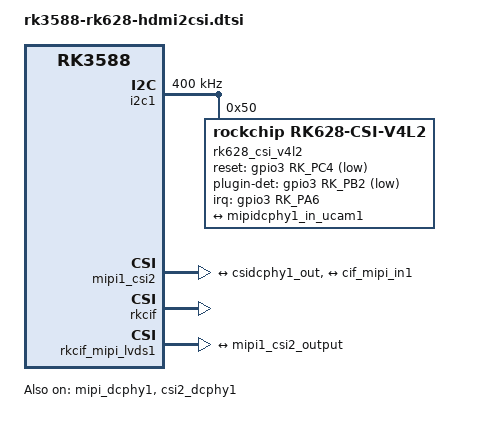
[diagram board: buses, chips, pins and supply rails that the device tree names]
//#include "rk628.dtsi"

&mipi_dcphy1 {
        status = "okay";
};

&i2c1 {
	status = "okay";

	inctrl-names = "default";
	pinctrl-0 = <&i2c1m4_xfer>;
	clock-frequency = <400000>;
	
	rk628_csi_v4l2: rk628_csi_v4l2@50 {
	        reg = <0x50>;
	        compatible = "rockchip,rk628-csi-v4l2";
	        interrupt-parent = <&gpio3>;
	        interrupts = <RK_PA6 IRQ_TYPE_EDGE_RISING>;
	        //enable-gpios = <&gpio3 RK_PC6 GPIO_ACTIVE_LOW>;
	        reset-gpios = <&gpio3 RK_PC4 GPIO_ACTIVE_LOW>;
	        plugin-det-gpios = <&gpio3 RK_PB2 GPIO_ACTIVE_LOW>;

	        rockchip,camera-module-index = <0>;
	        rockchip,camera-module-facing = "back";
	        rockchip,camera-module-name = "RK628-CSI";
	        rockchip,camera-module-lens-name = "NC";

	        port {
	                hdmiin_out0: endpoint {
	                        remote-endpoint = <&mipidcphy1_in_ucam1>;
	                        data-lanes = <1 2 3 4>;
	                };
	        };
	};

};
#if 0
#include "rk628.dtsi"

&rk628_combrxphy {
	status = "okay";
};

&rk628_combtxphy {
	status = "okay";
};

#endif

&csi2_dcphy1 {
	status = "okay";

	ports {
		#address-cells = <1>;
		#size-cells = <0>;
		port@0 {
			reg = <0>;
			#address-cells = <1>;
			#size-cells = <0>;

			mipidcphy1_in_ucam1: endpoint@2 {
				reg = <2>;
				remote-endpoint = <&hdmiin_out0>;
				data-lanes = <1 2 3 4>;
			};
		};
		port@1 {
			reg = <1>;
			#address-cells = <1>;
			#size-cells = <0>;

			csidcphy1_out: endpoint@0 {
				reg = <0>;
				remote-endpoint = <&mipi1_csi2_input>;
			};
		};
	};
};

&mipi1_csi2 {
	status = "okay";

	ports {
		#address-cells = <1>;
		#size-cells = <0>;

		port@0 {
			reg = <0>;
			#address-cells = <1>;
			#size-cells = <0>;

			mipi1_csi2_input: endpoint@1 {
				reg = <1>;
				remote-endpoint = <&csidcphy1_out>;
			};
		};

		port@1 {
			reg = <1>;
			#address-cells = <1>;
			#size-cells = <0>;

			mipi1_csi2_output: endpoint@0 {
				reg = <0>;
				remote-endpoint = <&cif_mipi_in1>;
			};
		};
	};
};

&rkcif {
	status = "okay";
//	memory-region = <&cif_reserved>;
};

&rkcif_mmu {
	status = "okay";
};

&rkcif_mipi_lvds1 {
	status = "okay";

	port {
		cif_mipi_in1: endpoint {
			remote-endpoint = <&mipi1_csi2_output>;
		};
	};
};

&rkcif_mipi_lvds1_sditf {
	status = "disabled";

	port {
		mipi1_lvds_sditf: endpoint {
			remote-endpoint = <&isp1_in2>;
		};
	};
};

&rkisp0 {
 status = "disabled";
};

&isp0_mmu {
 status = "disabled";
};

&rkisp0_vir0 {
    status = "disabled";

    port {
        #address-cells = <1>;
        #size-cells = <0>;

        isp1_in2: endpoint@1 {
			reg = <1>;
			remote-endpoint = <&mipi1_lvds_sditf>;
		};
    };
};
#if 0
&pinctrl{
	rk628{
		rk628d_rst:rk628d-rst{
			ockchip,pins =
                /* rk628d rst */
                <3 RK_PC6 RK_FUNC_GPIO &pcfg_pull_none>;
		};
	};
};
#endif
